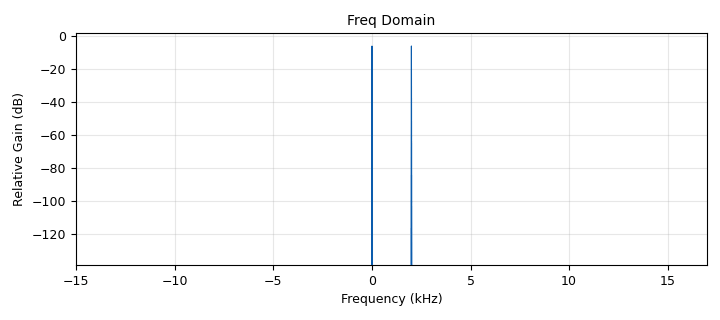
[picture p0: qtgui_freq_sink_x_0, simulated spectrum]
options:
  parameters:
    author: aruncs
    generate_options: qt_gui
    id: untitled
    output_language: python
    title: Not titled yet
  states: {}

blocks:
- name: freq
  id: variable_qtgui_range
  parameters:
    start: '100'
    step: '1e-1'
    stop: 16e3
    value: 1e3
  states: {}
- name: samp_rate
  id: variable
  parameters:
    value: '32000'
  states: {}
- name: analog_sig_source_x_0
  id: analog_sig_source_x
  parameters:
    amp: '1'
    freq: freq
    offset: '0'
    phase: '0'
    samp_rate: samp_rate
    type: float
    waveform: analog.GR_COS_WAVE
  states: {}
- name: blocks_throttle2_0
  id: blocks_throttle2
  parameters:
    samples_per_second: samp_rate
    type: float
  states: {}
- name: qtgui_freq_sink_x_0
  id: qtgui_freq_sink_x
  parameters:
    autoscale: 'True'
    bw: samp_rate
    fc: freq
    fftsize: '1024'
    grid: 'True'
    name: Freq Domain
    type: float
    wintype: window.WIN_RECTANGULAR
  states: {}

connections:
- [analog_sig_source_x_0, '0', blocks_throttle2_0, '0']
- [blocks_throttle2_0, '0', qtgui_freq_sink_x_0, '0']

metadata:
  file_format: 1
  grc_version: 3.10.11.0
